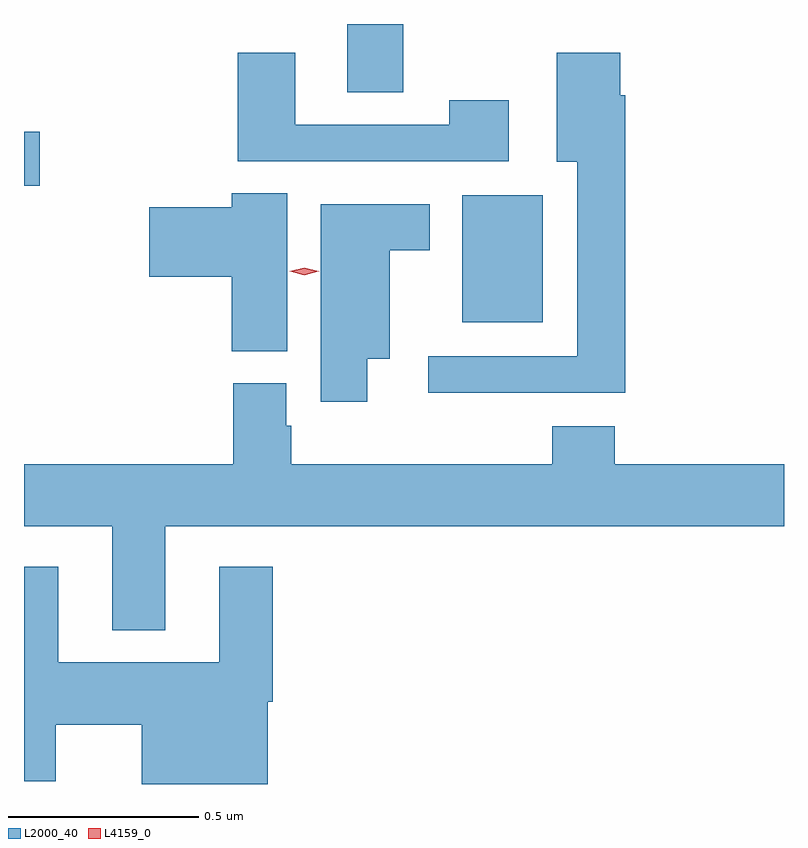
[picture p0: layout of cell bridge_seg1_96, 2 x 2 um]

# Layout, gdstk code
import gdstk
lib = gdstk.Library(unit=1e-6, precision=1e-09)
def R(c, l, rs):  # rectangles x0, y0, x1, y1
    for r in rs: c.add(gdstk.rectangle(r[:2], r[2:], *l))
def P(c, l, *ps):  # polygons
    for p in ps: c.add(gdstk.Polygon(p, *l))
L2000_40 = (2000, 40)
L4159_0 = (4159, 0)

bridge_seg1_96 = lib.new_cell('bridge_seg1_96')
R(bridge_seg1_96, L2000_40, [(271.85,576.245,272.062,576.58), (270.697,576.605,270.739,576.747), (271.547,576.85,271.695,577.03)])
P(bridge_seg1_96, L2000_40, [(272.279,576.842),(272.266,576.842),(272.266,576.955),(272.099,576.955),(272.099,576.668),(272.153,576.668),(272.153,576.156),(271.761,576.156),(271.761,576.059),(272.279,576.059)],
  [(271.972,576.829),(271.816,576.829),(271.816,576.765),(271.411,576.765),(271.411,576.955),(271.259,576.955),(271.259,576.669),(271.972,576.669)],
  [(271.39,576.584),(271.244,576.584),(271.244,576.548),(271.026,576.548),(271.026,576.365),(271.244,576.365),(271.244,576.169),(271.39,576.169)],
  [(271.6,576.149),(271.66,576.149),(271.66,576.434),(271.765,576.434),(271.765,576.556),(271.478,576.556),(271.478,576.036),(271.6,576.036)],
  [(271.069,575.708),(272.697,575.708),(272.697,575.872),(272.252,575.872),(272.252,575.971),(272.087,575.971),(272.087,575.872),(271.4,575.872),(271.4,575.973),(271.387,575.973),(271.387,576.084),(271.247,576.084),(271.247,575.872),(270.697,575.872),(270.697,575.708),(270.929,575.708),(270.929,575.435),(271.069,575.435)],
  [(271.339,575.246),(271.352,575.246),(271.352,575.602),(271.211,575.602),(271.211,575.35),(270.787,575.35),(270.787,575.602),(270.697,575.602),(270.697,575.037),(270.781,575.037),(270.781,575.186),(271.007,575.186),(271.007,575.03),(271.339,575.03)])
P(bridge_seg1_96, L4159_0, [(271.435,576.369),(271.396,576.379),(271.396,576.379),(271.396,576.379),(271.435,576.389),(271.473,576.379),(271.474,576.379),(271.473,576.379)])

lib.write_gds('bridge_seg1_96.gds')
